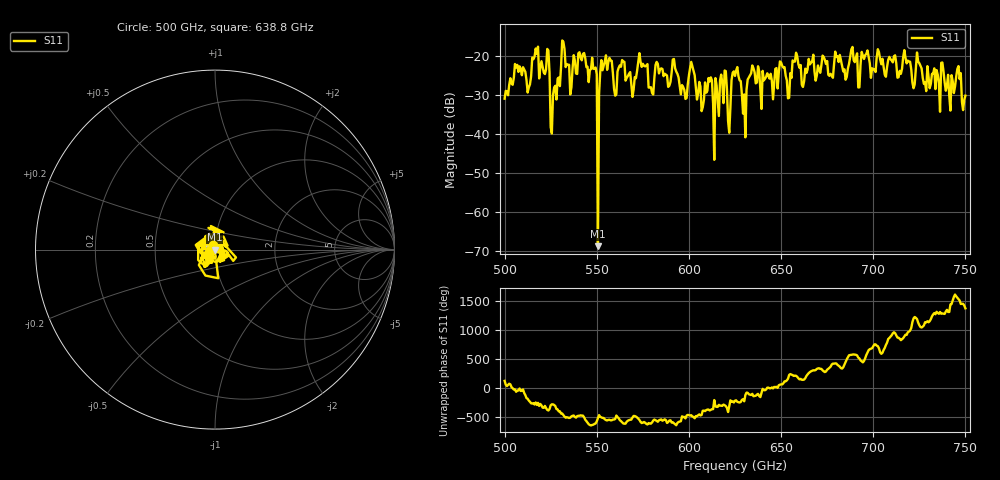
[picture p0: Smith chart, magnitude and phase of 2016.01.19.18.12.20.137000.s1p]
!Created with skrf (http://scikit-rf.org).
# GHz S RI R 50.0
!freq ReS11 ImS11
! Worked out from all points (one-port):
!   401 points, 500 GHz to 750 GHz, reference 50 ohm
!   lowest |S11| = -68.9 dB at 550.6 GHz (marker M1), VSWR 1.00, Z = 50 - j0.00832 ohm
!   |S11| at or under -10 dB: start of sweep to end of sweep
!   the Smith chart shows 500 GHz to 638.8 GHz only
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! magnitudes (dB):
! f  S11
! 500 GHz  -30.9
! 506.9 GHz  -22.2
! 513.1 GHz  -28.0
! 516.9 GHz  -18.0
! 523.1 GHz  -18.1
! 526.2 GHz  -30.0
! 531.2 GHz  -15.9
! 548.8 GHz  -23.1
! 549.4 GHz  -22.9
! 550.6 GHz  -68.9
! 553.8 GHz  -22.4
! 560 GHz  -30.1
! 562.5 GHz  -22.3
! 579.4 GHz  -27.9
! 593.8 GHz  -24.5
! 611.2 GHz  -26.5
! 615 GHz  -27.4
! 618.8 GHz  -32.0
! 621.9 GHz  -39.7
! 625 GHz  -25.0
! 630 GHz  -29.8
! 634.4 GHz  -22.3
! 656.2 GHz  -21.0
! 687.5 GHz  -20.1
! 718.8 GHz  -21.1
! 740.6 GHz  -24.7
! 746.2 GHz  -22.5
! 750 GHz  -30.1
